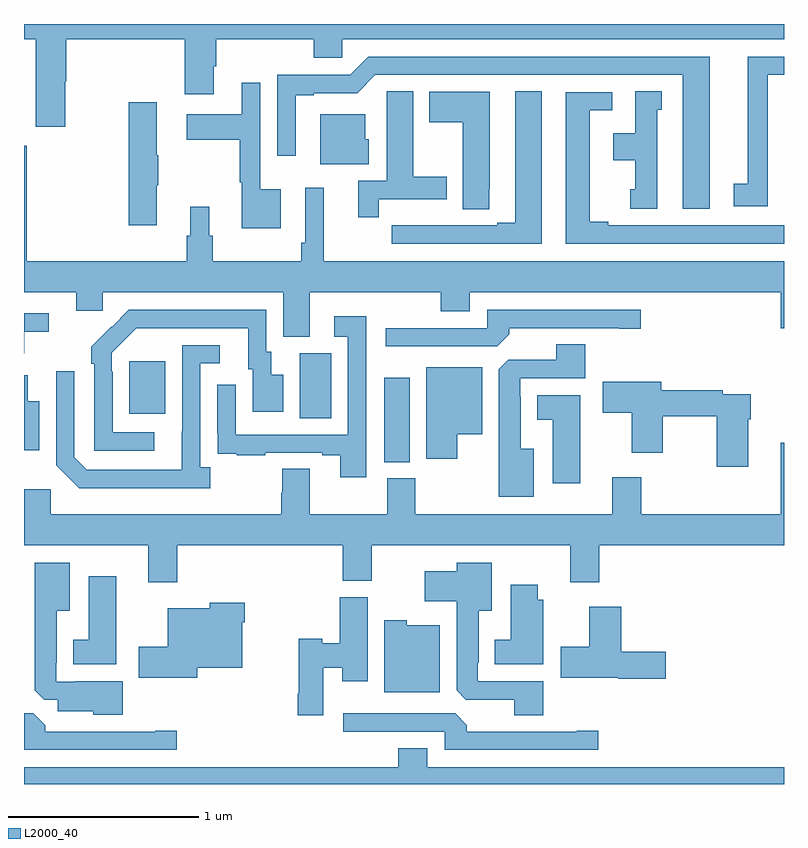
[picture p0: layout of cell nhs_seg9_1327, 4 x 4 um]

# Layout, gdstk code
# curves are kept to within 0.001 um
import gdstk
lib = gdstk.Library(unit=1e-6, precision=1e-09)
def R(c, l, rs):  # rectangles x0, y0, x1, y1
    for r in rs: c.add(gdstk.rectangle(r[:2], r[2:], *l))
def P(c, l, *ps):  # polygons
    for p in ps: c.add(gdstk.Polygon(p, *l))
L2000_40 = (2000, 40)

nhs_seg9_1327 = lib.new_cell('nhs_seg9_1327')
R(nhs_seg9_1327, L2000_40, [(186.896,1194.193,187.03,1194.637), (186.452,1194.424,186.616,1194.768), (185.555,1194.449,185.743,1194.724)])
P(nhs_seg9_1327, L2000_40, [(185.217,1196.198),(185.222,1196.198),(185.222,1196.42),(185.846,1196.42),(185.846,1196.13),(185.998,1196.13),(185.998,1196.278),(186.011,1196.278),(186.011,1196.42),(186.524,1196.42),(186.524,1196.322),(186.675,1196.322),(186.675,1196.42),(189,1196.42),(189,1196.5),(185,1196.5),(185,1196.42),(185.062,1196.42),(185.062,1195.959),(185.217,1195.959)],
  [(188.608,1196.328),(186.813,1196.328),(186.717,1196.232),(186.333,1196.232),(186.333,1195.806),(186.43,1195.806),(186.43,1196.124),(186.526,1196.124),(186.526,1196.136),(186.753,1196.136),(186.849,1196.232),(188.468,1196.232),(188.468,1195.527),(188.608,1195.527)],
  [(188.914,1196.232),(189,1196.232),(189,1196.328),(188.81,1196.328),(188.81,1195.658),(188.736,1195.658),(188.736,1195.542),(188.914,1195.542)],
  [(186.352,1195.63),(186.243,1195.63),(186.243,1196.191),(186.146,1196.191),(186.146,1196.026),(185.856,1196.026),(185.856,1195.892),(186.135,1195.892),(186.135,1195.668),(186.146,1195.668),(186.146,1195.424),(186.352,1195.424)],
  [(186.866,1195.578),(187.225,1195.578),(187.225,1195.695),(187.048,1195.695),(187.048,1196.147),(186.909,1196.147),(186.909,1196.036),(186.908,1196.036),(186.908,1195.674),(186.758,1195.674),(186.758,1195.482),(186.866,1195.482)],
  [(187.726,1196.147),(187.586,1196.147),(187.586,1195.455),(187.49,1195.455),(187.49,1195.44),(187.214,1195.44),(187.214,1195.441),(187.048,1195.441),(187.048,1195.44),(186.936,1195.44),(186.936,1195.344),(187.726,1195.344)],
  [(188.332,1196.049),(188.356,1196.049),(188.356,1196.147),(188.216,1196.147),(188.216,1195.924),(188.102,1195.924),(188.102,1195.784),(188.216,1195.784),(188.216,1195.629),(188.192,1195.629),(188.192,1195.527),(188.332,1195.527)],
  [(187.449,1195.633),(187.45,1195.633),(187.45,1196.143),(187.133,1196.143),(187.133,1195.984),(187.31,1195.984),(187.31,1195.525),(187.449,1195.525)],
  [(189,1195.44),(188.074,1195.44),(188.074,1195.46),(187.978,1195.46),(187.978,1196.046),(188.095,1196.046),(188.095,1196.142),(187.85,1196.142),(187.85,1195.344),(189,1195.344)],
  [(185.698,1195.652),(185.706,1195.652),(185.706,1195.808),(185.698,1195.808),(185.698,1196.089),(185.552,1196.089),(185.552,1195.44),(185.698,1195.44)],
  [(186.814,1195.893),(186.796,1195.893),(186.796,1196.026),(186.56,1196.026),(186.56,1195.763),(186.814,1195.763)],
  [(186.505,1195.088),(187.193,1195.088),(187.193,1194.989),(187.345,1194.989),(187.345,1195.088),(188.984,1195.088),(188.984,1194.9),(189,1194.9),(189,1195.252),(186.578,1195.252),(186.578,1195.639),(186.48,1195.639),(186.48,1195.348),(186.46,1195.348),(186.46,1195.252),(185.993,1195.252),(185.993,1195.386),(185.974,1195.386),(185.974,1195.537),(185.876,1195.537),(185.876,1195.386),(185.857,1195.386),(185.857,1195.252),(185.014,1195.252),(185.014,1195.858),(185,1195.858),(185,1195.088),(185.276,1195.088),(185.276,1194.99),(185.415,1194.99),(185.415,1195.088),(186.365,1195.088),(186.365,1194.853),(186.505,1194.853)],
  [(187.553,1194.866),(187.553,1194.9),(188.132,1194.9),(188.132,1194.895),(188.245,1194.895),(188.245,1194.996),(187.437,1194.996),(187.437,1194.9),(186.903,1194.9),(186.903,1194.804),(187.491,1194.804)],
  [(185.686,1194.351),(185.466,1194.351),(185.466,1194.671),(185.463,1194.671),(185.463,1194.771),(185.592,1194.9),(186.179,1194.9),(186.179,1194.684),(186.203,1194.684),(186.203,1194.459),(186.364,1194.459),(186.364,1194.655),(186.301,1194.655),(186.301,1194.774),(186.276,1194.774),(186.276,1194.996),(185.552,1194.996),(185.355,1194.801),(185.355,1194.713),(185.37,1194.713),(185.37,1194.255),(185.686,1194.255)],
  [(185.002,1194.88),(185.131,1194.88),(185.131,1194.978),(185,1194.978),(185,1194.767),(185.002,1194.767)],
  [(186.801,1194.961),(186.633,1194.961),(186.633,1194.855),(186.705,1194.855),(186.705,1194.339),(186.114,1194.339),(186.114,1194.601),(186.018,1194.601),(186.018,1194.346),(186.019,1194.346),(186.019,1194.237),(186.121,1194.237),(186.121,1194.231),(186.269,1194.231),(186.269,1194.243),(186.569,1194.243),(186.569,1194.231),(186.665,1194.231),(186.665,1194.114),(186.801,1194.114)],
  [(187.684,1194.265),(187.615,1194.265),(187.615,1194.539),(187.611,1194.539),(187.611,1194.636),(187.955,1194.636),(187.955,1194.815),(187.802,1194.815),(187.802,1194.732),(187.548,1194.732),(187.499,1194.683),(187.499,1194.011),(187.684,1194.011)],
  [(185.98,1194.166),(185.928,1194.166),(185.928,1194.714),(186.031,1194.714),(186.031,1194.81),(185.832,1194.81),(185.831,1194.153),(185.331,1194.153),(185.265,1194.219),(185.265,1194.673),(185.169,1194.673),(185.169,1194.177),(185.29,1194.056),(185.98,1194.056)],
  [(187.279,1194.341),(187.411,1194.341),(187.411,1194.694),(187.118,1194.694),(187.118,1194.213),(187.279,1194.213)],
  [(185.08,1194.514),(185.02,1194.514),(185.02,1194.652),(185,1194.652),(185,1194.257),(185.08,1194.257)],
  [(188.812,1194.419),(188.825,1194.419),(188.825,1194.552),(188.678,1194.552),(188.678,1194.572),(188.353,1194.572),(188.353,1194.616),(188.046,1194.616),(188.046,1194.454),(188.198,1194.454),(188.198,1194.243),(188.361,1194.243),(188.361,1194.436),(188.647,1194.436),(188.647,1194.171),(188.812,1194.171)],
  [(187.927,1194.547),(187.7,1194.547),(187.7,1194.416),(187.784,1194.416),(187.784,1194.084),(187.927,1194.084)],
  [(189,1194.295),(188.984,1194.295),(188.984,1193.92),(188.249,1193.92),(188.249,1194.115),(188.096,1194.115),(188.096,1193.92),(187.059,1193.92),(187.059,1194.108),(186.911,1194.108),(186.911,1193.92),(186.505,1193.92),(186.505,1194.158),(186.358,1194.158),(186.358,1194.033),(186.353,1194.033),(186.353,1193.92),(185.142,1193.92),(185.142,1194.052),(185,1194.052),(185,1193.756),(185.654,1193.756),(185.654,1193.562),(185.807,1193.562),(185.807,1193.756),(186.677,1193.756),(186.677,1193.569),(186.829,1193.569),(186.829,1193.756),(187.874,1193.756),(187.874,1193.562),(188.027,1193.562),(188.027,1193.756),(189,1193.756)],
  [(187.733,1193.04),(187.389,1193.04),(187.389,1193.137),(187.393,1193.137),(187.393,1193.411),(187.462,1193.411),(187.462,1193.665),(187.277,1193.665),(187.277,1193.62),(187.11,1193.62),(187.11,1193.462),(187.277,1193.462),(187.277,1192.993),(187.326,1192.944),(187.58,1192.944),(187.58,1192.861),(187.733,1192.861)],
  [(185.521,1193.041),(185.269,1193.041),(185.269,1193.037),(185.169,1193.037),(185.169,1193.137),(185.173,1193.137),(185.173,1193.411),(185.242,1193.411),(185.242,1193.665),(185.057,1193.665),(185.057,1192.993),(185.106,1192.944),(185.177,1192.944),(185.177,1192.883),(185.364,1192.883),(185.364,1192.865),(185.521,1192.865)],
  [(185.485,1193.593),(185.342,1193.593),(185.342,1193.26),(185.258,1193.26),(185.258,1193.129),(185.485,1193.129)],
  [(187.732,1193.469),(187.705,1193.469),(187.705,1193.548),(187.562,1193.548),(187.562,1193.26),(187.478,1193.26),(187.478,1193.129),(187.732,1193.129)],
  [(186.574,1193.111),(186.674,1193.111),(186.674,1193.04),(186.808,1193.04),(186.808,1193.484),(186.662,1193.484),(186.662,1193.241),(186.57,1193.241),(186.57,1193.264),(186.445,1193.264),(186.445,1192.975),(186.44,1192.975),(186.44,1192.863),(186.574,1192.863)],
  [(185.911,1193.111),(186.148,1193.111),(186.148,1193.351),(186.161,1193.351),(186.161,1193.455),(185.978,1193.455),(185.978,1193.425),(185.756,1193.425),(185.756,1193.223),(185.604,1193.223),(185.604,1193.06),(185.911,1193.06)],
  [(188.377,1193.195),(188.144,1193.195),(188.144,1193.434),(187.976,1193.434),(187.976,1193.223),(187.824,1193.223),(187.824,1193.06),(188.127,1193.06),(188.127,1193.053),(188.377,1193.053)],
  [(187.189,1193.335),(187.014,1193.335),(187.014,1193.362),(186.896,1193.362),(186.896,1192.982),(187.189,1192.982)],
  [(188.023,1192.781),(187.91,1192.781),(187.91,1192.776),(187.331,1192.776),(187.331,1192.81),(187.269,1192.872),(186.681,1192.872),(186.681,1192.776),(187.215,1192.776),(187.215,1192.68),(188.023,1192.68)],
  [(185.803,1192.781),(185.69,1192.781),(185.69,1192.776),(185.111,1192.776),(185.111,1192.81),(185.049,1192.872),(185,1192.872),(185,1192.68),(185.803,1192.68)],
  [(189,1192.588),(187.123,1192.588),(187.123,1192.687),(186.971,1192.687),(186.971,1192.588),(185,1192.588),(185,1192.5),(189,1192.5)])

lib.write_gds('nhs_seg9_1327.gds')
